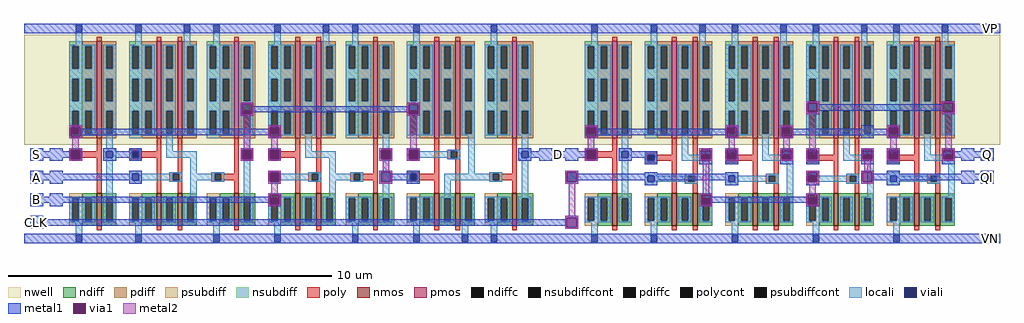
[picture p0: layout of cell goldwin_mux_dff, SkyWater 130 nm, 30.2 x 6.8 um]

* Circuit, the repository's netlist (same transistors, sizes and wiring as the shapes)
** sch_path: /foss/designs/APIC-2025/APIC-UTS/schematic/goldwin_mux_dff/goldwin_mux_dff.sch
.subckt goldwin_mux_dff CLK A B S D Q QI VP VN
*.PININFO A:I B:I S:I CLK:I VP:I VN:I Q:O QI:O D:O
x1 A B S D VP VN goldwin_mux
x2 D CLK VP VN Q QI VP VN goldwin_dff
.ends

* expanding   symbol:  /foss/designs/APIC-2025/APIC-UTS/schematic/goldwin_mux/goldwin_mux.sym # of pins=6
** sym_path: /foss/designs/APIC-2025/APIC-UTS/schematic/goldwin_mux/goldwin_mux.sym
** sch_path: /foss/designs/APIC-2025/APIC-UTS/schematic/goldwin_mux/goldwin_mux.sch
.subckt goldwin_mux A B S Y VP VN
*.PININFO A:I B:I S:I VP:I VN:I Y:O
x1 S net1 VP VN goldwin_not
x2 net1 A net3 VP VN goldwin_and
x3 S B net2 VP VN goldwin_and
x4 net3 net2 Y VP VN goldwin_or
.ends


* expanding   symbol:  /foss/designs/APIC-2025/APIC-UTS/schematic/goldwin_dff/goldwin_dff.sym # of pins=6
** sym_path: /foss/designs/APIC-2025/APIC-UTS/schematic/goldwin_dff/goldwin_dff.sym
** sch_path: /foss/designs/APIC-2025/APIC-UTS/schematic/goldwin_dff/goldwin_dff.sch
.subckt goldwin_dff D CLK VP VN Q QI VP VN
*.PININFO D:I CLK:I VP:I VN:I Q:O QI:O
x1 D net1 VP VN goldwin_not
x3 net3 QI Q VP VN goldwin_nand
x4 net1 CLK net2 VP VN goldwin_nand
x5 D CLK net3 VP VN goldwin_nand
x6 Q net2 QI VP VN goldwin_nand
.ends


* expanding   symbol:  /foss/designs/APIC-2025/APIC-UTS/schematic/goldwin_not/goldwin_not.sym # of pins=4
** sym_path: /foss/designs/APIC-2025/APIC-UTS/schematic/goldwin_not/goldwin_not.sym
** sch_path: /foss/designs/APIC-2025/APIC-UTS/schematic/goldwin_not/goldwin_not.sch
.subckt goldwin_not A Y VP VN
*.PININFO A:I VP:I VN:I Y:O
XM1 Y A VN VN sky130_fd_pr__nfet_01v8 L=0.15 W=1 nf=1 m=1
XM2 Y A VP VP sky130_fd_pr__pfet_01v8 L=0.15 W=3 nf=1 m=1
.ends


* expanding   symbol:  /foss/designs/APIC-2025/APIC-UTS/schematic/goldwin_and/goldwin_and.sym # of pins=5
** sym_path: /foss/designs/APIC-2025/APIC-UTS/schematic/goldwin_and/goldwin_and.sym
** sch_path: /foss/designs/APIC-2025/APIC-UTS/schematic/goldwin_and/goldwin_and.sch
.subckt goldwin_and A B Y VP VN
*.PININFO A:I B:I Y:O VP:I VN:I
XM1 net1 B net2 VN sky130_fd_pr__nfet_01v8 L=0.15 W=1 nf=1 m=1
XM4 net2 A VN VN sky130_fd_pr__nfet_01v8 L=0.15 W=1 nf=1 m=1
XM6 Y net1 VN VN sky130_fd_pr__nfet_01v8 L=0.15 W=1 nf=1 m=1
XM2 net1 A VP VP sky130_fd_pr__pfet_01v8 L=0.15 W=3 nf=1 m=1
XM3 net1 B VP VP sky130_fd_pr__pfet_01v8 L=0.15 W=3 nf=1 m=1
XM5 Y net1 VP VP sky130_fd_pr__pfet_01v8 L=0.15 W=3 nf=1 m=1
.ends


* expanding   symbol:  /foss/designs/APIC-2025/APIC-UTS/schematic/goldwin_or/goldwin_or.sym # of pins=5
** sym_path: /foss/designs/APIC-2025/APIC-UTS/schematic/goldwin_or/goldwin_or.sym
** sch_path: /foss/designs/APIC-2025/APIC-UTS/schematic/goldwin_or/goldwin_or.sch
.subckt goldwin_or A B Y VP VN
*.PININFO A:I B:I Y:O VP:I VN:I
XM1 net1 A VN VN sky130_fd_pr__nfet_01v8 L=0.15 W=1 nf=1 m=1
XM4 net1 B VN VN sky130_fd_pr__nfet_01v8 L=0.15 W=1 nf=1 m=1
XM6 Y net1 VN VN sky130_fd_pr__nfet_01v8 L=0.15 W=1 nf=1 m=1
XM2 net2 B VP VP sky130_fd_pr__pfet_01v8 L=0.15 W=3 nf=1 m=1
XM3 net1 A net2 VP sky130_fd_pr__pfet_01v8 L=0.15 W=3 nf=1 m=1
XM5 Y net1 VP VP sky130_fd_pr__pfet_01v8 L=0.15 W=3 nf=1 m=1
.ends


* expanding   symbol:  /foss/designs/APIC-2025/APIC-UTS/schematic/goldwin_nand/goldwin_nand.sym # of pins=5
** sym_path: /foss/designs/APIC-2025/APIC-UTS/schematic/goldwin_nand/goldwin_nand.sym
** sch_path: /foss/designs/APIC-2025/APIC-UTS/schematic/goldwin_nand/goldwin_nand.sch
.subckt goldwin_nand A B Y VP VN
*.PININFO A:I B:I VP:I VN:I Y:O
XM1 Y A VP VP sky130_fd_pr__pfet_01v8 L=0.15 W=3 nf=1 m=1
XM2 Y B VP VP sky130_fd_pr__pfet_01v8 L=0.15 W=3 nf=1 m=1
XM3 Y B net1 VN sky130_fd_pr__nfet_01v8 L=0.15 W=1 nf=1 m=1
XM4 net1 A VN VN sky130_fd_pr__nfet_01v8 L=0.15 W=1 nf=1 m=1
.ends

.end

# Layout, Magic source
magic
tech sky130A
<< nwell >>
rect -60 305 0 645
rect 2900 305 2960 645
<< metal1 >>
rect -60 650 0 680
rect 2900 650 2960 680
rect -40 285 0 295
rect 2900 285 2940 295
rect -40 265 20 285
rect 1575 265 1615 285
rect 2880 265 2940 285
rect -40 255 0 265
rect 2900 255 2940 265
rect -40 215 0 225
rect 1615 220 1655 225
rect -40 195 20 215
rect -40 185 0 195
rect 1615 190 1620 220
rect 1650 190 1655 220
rect 2900 215 2940 225
rect 2880 195 2940 215
rect 1615 185 1655 190
rect 2900 185 2940 195
rect -40 145 0 155
rect -40 125 20 145
rect -40 115 0 125
rect -40 75 0 85
rect 1615 80 1655 85
rect 1615 75 1620 80
rect -40 55 1620 75
rect -40 45 0 55
rect 1615 50 1620 55
rect 1650 50 1655 80
rect 1615 45 1655 50
rect -60 0 0 30
rect 2900 0 2960 30
<< via1 >>
rect 1620 190 1650 220
rect 1620 50 1650 80
<< metal2 >>
rect 1615 220 1655 225
rect 1615 190 1620 220
rect 1650 190 1655 220
rect 1615 185 1655 190
rect 1625 85 1645 185
rect 1615 80 1655 85
rect 1615 50 1620 80
rect 1650 50 1655 80
rect 1615 45 1655 50
use goldwin_dff  goldwin_dff_0 ../goldwin_dff
transform 1 0 1655 0 1 0
box -60 0 1245 680
use goldwin_mux  goldwin_mux_0 ../goldwin_mux
transform 1 0 60 0 1 0
box -60 0 1535 680
<< labels >>
flabel metal1 -40 45 0 85 1 FreeSans 200 0 0 -120 CLK
port 1 n
flabel metal1 -40 115 0 155 1 FreeSans 200 0 0 -120 B
port 3 n
flabel metal1 -40 185 0 225 1 FreeSans 200 0 0 -120 A
port 2 n
flabel metal1 -40 255 0 295 1 FreeSans 200 0 0 -120 S
port 4 n
flabel metal1 2900 255 2940 295 1 FreeSans 200 0 0 -120 Q
port 6 n
flabel metal1 2900 185 2940 225 1 FreeSans 200 0 0 -120 QI
port 7 n
flabel metal1 2920 0 2940 30 1 FreeSans 200 0 0 -120 VN
port 9 n
flabel metal1 2920 650 2940 680 1 FreeSans 200 0 0 -120 VP
port 8 n
flabel metal1 1585 265 1605 285 1 FreeSans 200 0 0 0 D
port 5 n
<< end >>

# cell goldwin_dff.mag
magic
tech sky130A
<< nwell >>
rect -60 305 1245 645
<< metal1 >>
rect -60 650 1245 680
rect 705 435 745 440
rect 705 405 710 435
rect 740 430 745 435
rect 1125 435 1165 440
rect 1125 430 1130 435
rect 740 410 1130 430
rect 740 405 745 410
rect 705 400 745 405
rect 1125 405 1130 410
rect 1160 405 1165 435
rect 1125 400 1165 405
rect 20 360 60 365
rect 20 330 25 360
rect 55 355 60 360
rect 455 360 495 365
rect 455 355 460 360
rect 55 335 460 355
rect 55 330 60 335
rect 20 325 60 330
rect 455 330 460 335
rect 490 330 495 360
rect 455 325 495 330
rect 625 360 665 365
rect 625 330 630 360
rect 660 355 665 360
rect 875 355 915 365
rect 955 360 995 365
rect 955 355 960 360
rect 660 335 960 355
rect 660 330 665 335
rect 625 325 665 330
rect 875 325 915 335
rect 955 330 960 335
rect 990 330 995 360
rect 955 325 995 330
rect -40 285 0 295
rect 455 290 495 295
rect -40 265 20 285
rect -40 255 0 265
rect 165 265 205 285
rect 455 260 460 290
rect 490 260 495 290
rect 455 255 495 260
rect 625 290 665 295
rect 625 260 630 290
rect 660 260 665 290
rect 625 255 665 260
rect 705 290 745 295
rect 705 260 710 290
rect 740 260 745 290
rect 705 255 745 260
rect 875 290 915 295
rect 875 260 880 290
rect 910 260 915 290
rect 875 255 915 260
rect 955 290 995 295
rect 955 260 960 290
rect 990 260 995 290
rect 955 255 995 260
rect 1125 290 1165 295
rect 1125 260 1130 290
rect 1160 285 1165 290
rect 1185 285 1225 295
rect 1160 265 1225 285
rect 1160 260 1165 265
rect 1125 255 1165 260
rect 1185 255 1225 265
rect -40 215 0 225
rect 875 220 915 225
rect -40 195 205 215
rect 245 195 455 215
rect -40 185 0 195
rect 875 190 880 220
rect 910 215 915 220
rect 955 215 995 225
rect 1185 215 1225 225
rect 910 195 1225 215
rect 910 190 915 195
rect 875 185 915 190
rect 955 185 995 195
rect 1185 185 1225 195
rect 375 150 415 155
rect 375 120 380 150
rect 410 145 415 150
rect 705 150 745 155
rect 705 145 710 150
rect 410 125 710 145
rect 410 120 415 125
rect 375 115 415 120
rect 705 120 710 125
rect 740 120 745 150
rect 705 115 745 120
rect -60 0 1245 30
<< via1 >>
rect 710 405 740 435
rect 1130 405 1160 435
rect 25 330 55 360
rect 460 330 490 360
rect 630 330 660 360
rect 960 330 990 360
rect 25 260 55 290
rect 380 260 410 290
rect 460 260 490 290
rect 630 260 660 290
rect 710 260 740 290
rect 880 260 910 290
rect 960 260 990 290
rect 1130 260 1160 290
rect 710 190 740 220
rect 880 190 910 220
rect 380 120 410 150
rect 710 120 740 150
<< metal2 >>
rect 705 435 745 440
rect 705 405 710 435
rect 740 405 745 435
rect 705 400 745 405
rect 1125 435 1165 440
rect 1125 405 1130 435
rect 1160 405 1165 435
rect 1125 400 1165 405
rect 20 360 60 365
rect 20 330 25 360
rect 55 330 60 360
rect 20 325 60 330
rect 455 360 495 365
rect 455 330 460 360
rect 490 330 495 360
rect 455 325 495 330
rect 625 360 665 365
rect 625 330 630 360
rect 660 330 665 360
rect 625 325 665 330
rect 30 295 50 325
rect 465 295 485 325
rect 635 295 655 325
rect 715 295 735 400
rect 955 360 995 365
rect 955 330 960 360
rect 990 330 995 360
rect 955 325 995 330
rect 965 295 985 325
rect 1135 295 1155 400
rect 20 290 60 295
rect 20 260 25 290
rect 55 260 60 290
rect 20 255 60 260
rect 375 290 415 295
rect 375 260 380 290
rect 410 260 415 290
rect 375 255 415 260
rect 455 290 495 295
rect 455 260 460 290
rect 490 260 495 290
rect 455 255 495 260
rect 625 290 665 295
rect 625 260 630 290
rect 660 260 665 290
rect 625 255 665 260
rect 705 290 745 295
rect 705 260 710 290
rect 740 260 745 290
rect 705 255 745 260
rect 875 290 915 295
rect 875 260 880 290
rect 910 260 915 290
rect 875 255 915 260
rect 955 290 995 295
rect 955 260 960 290
rect 990 260 995 290
rect 955 255 995 260
rect 1125 290 1165 295
rect 1125 260 1130 290
rect 1160 260 1165 290
rect 1125 255 1165 260
rect 385 155 405 255
rect 885 225 905 255
rect 705 220 745 225
rect 705 190 710 220
rect 740 190 745 220
rect 705 185 745 190
rect 875 220 915 225
rect 875 190 880 220
rect 910 190 915 220
rect 875 185 915 190
rect 715 155 735 185
rect 375 150 415 155
rect 375 120 380 150
rect 410 120 415 150
rect 375 115 415 120
rect 705 150 745 155
rect 705 120 710 150
rect 740 120 745 150
rect 705 115 745 120
use goldwin_nand  goldwin_nand_0 ../goldwin_nand
transform 1 0 1040 0 1 55
box -105 -55 145 625
use goldwin_nand  goldwin_nand_1
transform 1 0 290 0 1 55
box -105 -55 145 625
use goldwin_nand  goldwin_nand_2
transform 1 0 540 0 1 55
box -105 -55 145 625
use goldwin_nand  goldwin_nand_3
transform 1 0 790 0 1 55
box -105 -55 145 625
use goldwin_nand  goldwin_nand_4
transform 1 0 790 0 1 55
box -105 -55 145 625
use goldwin_nand  goldwin_nand_5
transform 1 0 540 0 1 55
box -105 -55 145 625
use goldwin_nand  goldwin_nand_6
transform 1 0 290 0 1 55
box -105 -55 145 625
use goldwin_not  goldwin_not_0 ../goldwin_not
transform 1 0 105 0 1 55
box -105 -55 80 625
<< labels >>
flabel metal1 -40 255 0 295 1 FreeSans 200 0 0 -120 D
port 1 n
flabel metal1 -40 185 0 225 1 FreeSans 200 0 0 -120 CLK
port 2 n
flabel metal1 1185 255 1225 295 1 FreeSans 200 0 0 -120 Q
port 3 n
flabel metal1 1185 185 1225 225 1 FreeSans 200 0 0 -120 QI
port 4 n
flabel metal1 1205 650 1225 680 1 FreeSans 200 0 0 -120 VP
port 5 n
flabel metal1 1205 0 1225 30 1 FreeSans 200 0 0 -120 VN
port 6 n
<< end >>

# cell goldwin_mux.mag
magic
tech sky130A
<< nwell >>
rect -60 305 1535 645
<< metal1 >>
rect -60 650 1535 680
rect 550 430 590 435
rect 550 400 555 430
rect 585 425 590 430
rect 1065 430 1105 435
rect 1065 425 1070 430
rect 585 405 1070 425
rect 585 400 590 405
rect 550 395 590 400
rect 1065 400 1070 405
rect 1100 400 1105 430
rect 1065 395 1105 400
rect 20 360 60 365
rect 20 330 25 360
rect 55 355 60 360
rect 635 360 675 365
rect 635 355 640 360
rect 55 335 640 355
rect 55 330 60 335
rect 20 325 60 330
rect 635 330 640 335
rect 670 330 675 360
rect 635 325 675 330
rect -40 285 0 295
rect 550 290 590 295
rect -40 265 20 285
rect -40 255 0 265
rect 165 265 205 285
rect 550 260 555 290
rect 585 260 590 290
rect 550 255 590 260
rect 635 290 675 295
rect 635 260 640 290
rect 670 260 675 290
rect 635 255 675 260
rect 980 290 1020 295
rect 980 260 985 290
rect 1015 260 1020 290
rect 980 255 1020 260
rect 1065 290 1105 295
rect 1065 260 1070 290
rect 1100 260 1105 290
rect 1475 285 1515 295
rect 1450 265 1515 285
rect 1065 255 1105 260
rect 1475 255 1515 265
rect -40 215 0 225
rect 980 220 1020 225
rect -40 195 205 215
rect -40 185 0 195
rect 980 190 985 220
rect 1015 215 1020 220
rect 1015 195 1065 215
rect 1015 190 1020 195
rect 980 185 1020 190
rect -40 145 0 155
rect 635 150 675 155
rect 635 145 640 150
rect -40 125 640 145
rect -40 115 0 125
rect 635 120 640 125
rect 670 120 675 150
rect 635 115 675 120
rect -60 0 1535 30
<< via1 >>
rect 555 400 585 430
rect 1070 400 1100 430
rect 25 330 55 360
rect 640 330 670 360
rect 25 260 55 290
rect 555 260 585 290
rect 640 260 670 290
rect 985 260 1015 290
rect 1070 260 1100 290
rect 640 190 670 220
rect 985 190 1015 220
rect 640 120 670 150
<< metal2 >>
rect 550 430 590 435
rect 550 400 555 430
rect 585 400 590 430
rect 550 395 590 400
rect 1065 430 1105 435
rect 1065 400 1070 430
rect 1100 400 1105 430
rect 1065 395 1105 400
rect 20 360 60 365
rect 20 330 25 360
rect 55 330 60 360
rect 20 325 60 330
rect 30 295 50 325
rect 560 295 580 395
rect 635 360 675 365
rect 635 330 640 360
rect 670 330 675 360
rect 635 325 675 330
rect 645 295 665 325
rect 1075 295 1095 395
rect 20 290 60 295
rect 20 260 25 290
rect 55 260 60 290
rect 20 255 60 260
rect 550 290 590 295
rect 550 260 555 290
rect 585 260 590 290
rect 550 255 590 260
rect 635 290 675 295
rect 635 260 640 290
rect 670 260 675 290
rect 635 255 675 260
rect 980 290 1020 295
rect 980 260 985 290
rect 1015 260 1020 290
rect 980 255 1020 260
rect 1065 290 1105 295
rect 1065 260 1070 290
rect 1100 260 1105 290
rect 1065 255 1105 260
rect 990 225 1010 255
rect 635 220 675 225
rect 635 190 640 220
rect 670 190 675 220
rect 635 185 675 190
rect 980 220 1020 225
rect 980 190 985 220
rect 1015 190 1020 220
rect 980 185 1020 190
rect 645 155 665 185
rect 635 150 675 155
rect 635 120 640 150
rect 670 120 675 150
rect 635 115 675 120
use goldwin_and  goldwin_and_1 ../goldwin_and
transform 1 0 290 0 1 55
box -105 -55 325 625
use goldwin_and  goldwin_and_2
transform 1 0 720 0 1 55
box -105 -55 325 625
use goldwin_not  goldwin_not_0 ../goldwin_not
transform 1 0 105 0 1 55
box -105 -55 80 625
use goldwin_or  goldwin_or_0 ../goldwin_or
transform 1 0 1150 0 1 55
box -105 -55 325 625
<< labels >>
flabel metal1 -40 185 0 225 1 FreeSans 200 0 0 -120 A
port 1 n
flabel metal1 -40 115 0 155 1 FreeSans 200 0 0 -120 B
port 2 n
flabel metal1 1475 255 1515 295 1 FreeSans 200 0 0 -120 Y
port 4 n
flabel metal1 1495 0 1515 30 1 FreeSans 200 0 0 -120 VN
port 6 n
flabel metal1 1495 650 1515 680 1 FreeSans 200 0 0 -120 VP
port 5 n
flabel metal1 -40 255 0 295 1 FreeSans 200 0 0 -120 S
port 3 n
<< end >>

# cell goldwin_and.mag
magic
tech sky130A
<< nwell >>
rect -105 250 325 590
<< nmos >>
rect 0 0 15 100
rect 65 0 80 100
rect 240 0 255 100
<< pmos >>
rect 0 270 15 570
rect 65 270 80 570
rect 240 270 255 570
<< ndiff >>
rect -45 85 0 100
rect -45 15 -35 85
rect -15 15 0 85
rect -45 0 0 15
rect 15 85 65 100
rect 15 15 30 85
rect 50 15 65 85
rect 15 0 65 15
rect 80 85 125 100
rect 80 15 95 85
rect 115 15 125 85
rect 80 0 125 15
rect 195 85 240 100
rect 195 15 205 85
rect 225 15 240 85
rect 195 0 240 15
rect 255 85 305 100
rect 255 15 270 85
rect 290 15 305 85
rect 255 0 305 15
<< pdiff >>
rect -45 555 0 570
rect -45 485 -35 555
rect -15 485 0 555
rect -45 455 0 485
rect -45 385 -35 455
rect -15 385 0 455
rect -45 355 0 385
rect -45 285 -35 355
rect -15 285 0 355
rect -45 270 0 285
rect 15 555 65 570
rect 15 485 30 555
rect 50 485 65 555
rect 15 455 65 485
rect 15 385 30 455
rect 50 385 65 455
rect 15 355 65 385
rect 15 285 30 355
rect 50 285 65 355
rect 15 270 65 285
rect 80 555 125 570
rect 80 485 95 555
rect 115 485 125 555
rect 80 455 125 485
rect 80 385 95 455
rect 115 385 125 455
rect 80 355 125 385
rect 80 285 95 355
rect 115 285 125 355
rect 80 270 125 285
rect 195 555 240 570
rect 195 485 205 555
rect 225 485 240 555
rect 195 455 240 485
rect 195 385 205 455
rect 225 385 240 455
rect 195 355 240 385
rect 195 285 205 355
rect 225 285 240 355
rect 195 270 240 285
rect 255 555 305 570
rect 255 485 270 555
rect 290 485 305 555
rect 255 455 305 485
rect 255 385 270 455
rect 290 385 305 455
rect 255 355 305 385
rect 255 285 270 355
rect 290 285 305 355
rect 255 270 305 285
<< ndiffc >>
rect -35 15 -15 85
rect 30 15 50 85
rect 95 15 115 85
rect 205 15 225 85
rect 270 15 290 85
<< pdiffc >>
rect -35 485 -15 555
rect -35 385 -15 455
rect -35 285 -15 355
rect 30 485 50 555
rect 30 385 50 455
rect 30 285 50 355
rect 95 485 115 555
rect 95 385 115 455
rect 95 285 115 355
rect 205 485 225 555
rect 205 385 225 455
rect 205 285 225 355
rect 270 485 290 555
rect 270 385 290 455
rect 270 285 290 355
<< psubdiff >>
rect -85 85 -45 100
rect -85 15 -75 85
rect -55 15 -45 85
rect -85 0 -45 15
rect 155 85 195 100
rect 155 15 165 85
rect 185 15 195 85
rect 155 0 195 15
<< nsubdiff >>
rect -85 555 -45 570
rect -85 485 -75 555
rect -55 485 -45 555
rect -85 455 -45 485
rect -85 385 -75 455
rect -55 385 -45 455
rect -85 355 -45 385
rect -85 285 -75 355
rect -55 285 -45 355
rect -85 270 -45 285
rect 155 555 195 570
rect 155 485 165 555
rect 185 485 195 555
rect 155 455 195 485
rect 155 385 165 455
rect 185 385 195 455
rect 155 355 195 385
rect 155 285 165 355
rect 185 285 195 355
rect 155 270 195 285
<< psubdiffcont >>
rect -75 15 -55 85
rect 165 15 185 85
<< nsubdiffcont >>
rect -75 485 -55 555
rect -75 385 -55 455
rect -75 285 -55 355
rect 165 485 185 555
rect 165 385 185 455
rect 165 285 185 355
<< poly >>
rect 0 570 15 585
rect 65 570 80 585
rect 240 570 255 585
rect -85 230 -45 235
rect 0 230 15 270
rect -85 210 -75 230
rect -55 210 15 230
rect -85 205 -45 210
rect 0 100 15 210
rect 65 165 80 270
rect 40 160 80 165
rect 40 140 50 160
rect 70 140 80 160
rect 40 135 80 140
rect 170 160 210 165
rect 240 160 255 270
rect 170 140 180 160
rect 200 140 255 160
rect 170 135 210 140
rect 65 100 80 135
rect 240 100 255 140
rect 0 -15 15 0
rect 65 -15 80 0
rect 240 -15 255 0
<< polycont >>
rect -75 210 -55 230
rect 50 140 70 160
rect 180 140 200 160
<< locali >>
rect -65 620 -45 625
rect -65 560 -45 600
rect 85 620 105 625
rect 85 560 105 600
rect 175 620 195 625
rect 175 560 195 600
rect -85 555 -5 560
rect -85 485 -75 555
rect -55 485 -35 555
rect -15 485 -5 555
rect -85 455 -5 485
rect -85 385 -75 455
rect -55 385 -35 455
rect -15 385 -5 455
rect -85 355 -5 385
rect -85 285 -75 355
rect -55 285 -35 355
rect -15 285 -5 355
rect -85 280 -5 285
rect 20 555 60 560
rect 20 485 30 555
rect 50 485 60 555
rect 20 455 60 485
rect 20 385 30 455
rect 50 385 60 455
rect 20 355 60 385
rect 20 285 30 355
rect 50 285 60 355
rect 20 280 60 285
rect 85 555 125 560
rect 85 485 95 555
rect 115 485 125 555
rect 85 455 125 485
rect 85 385 95 455
rect 115 385 125 455
rect 85 355 125 385
rect 85 285 95 355
rect 115 285 125 355
rect 85 280 125 285
rect 155 555 235 560
rect 155 485 165 555
rect 185 485 205 555
rect 225 485 235 555
rect 155 455 235 485
rect 155 385 165 455
rect 185 385 205 455
rect 225 385 235 455
rect 155 355 235 385
rect 155 285 165 355
rect 185 285 205 355
rect 225 285 235 355
rect 155 280 235 285
rect 260 555 300 560
rect 260 485 270 555
rect 290 485 300 555
rect 260 455 300 485
rect 260 385 270 455
rect 290 385 300 455
rect 260 355 300 385
rect 260 285 270 355
rect 290 285 300 355
rect 260 280 300 285
rect -85 230 -45 240
rect -85 210 -75 230
rect -55 210 -45 230
rect 30 230 50 280
rect 270 240 290 280
rect 260 230 300 240
rect 30 210 125 230
rect -85 200 -45 210
rect -85 160 -45 170
rect 40 160 80 165
rect -85 140 -75 160
rect -55 140 50 160
rect 70 140 80 160
rect -85 130 -45 140
rect 40 135 80 140
rect 105 160 125 210
rect 260 210 270 230
rect 290 210 300 230
rect 260 200 300 210
rect 170 160 210 165
rect 105 140 180 160
rect 200 140 210 160
rect 105 90 125 140
rect 170 135 210 140
rect 270 90 290 200
rect -85 85 -5 90
rect -85 15 -75 85
rect -55 15 -35 85
rect -15 15 -5 85
rect -85 10 -5 15
rect 20 85 60 90
rect 20 15 30 85
rect 50 15 60 85
rect 20 10 60 15
rect 85 85 125 90
rect 85 15 95 85
rect 115 15 125 85
rect 85 10 125 15
rect 155 85 235 90
rect 155 15 165 85
rect 185 15 205 85
rect 225 15 235 85
rect 155 10 235 15
rect 260 85 300 90
rect 260 15 270 85
rect 290 15 300 85
rect 260 10 300 15
rect -65 -30 -45 10
rect -65 -55 -45 -50
rect 175 -30 195 10
rect 175 -55 195 -50
<< viali >>
rect -65 600 -45 620
rect 85 600 105 620
rect 175 600 195 620
rect -75 210 -55 230
rect -75 140 -55 160
rect 270 210 290 230
rect -65 -50 -45 -30
rect 175 -50 195 -30
<< metal1 >>
rect -105 620 325 625
rect -105 600 -65 620
rect -45 600 85 620
rect 105 600 175 620
rect 195 600 325 620
rect -105 595 325 600
rect -85 230 -45 240
rect -85 210 -75 230
rect -55 210 -45 230
rect -85 200 -45 210
rect 260 230 300 240
rect 260 210 270 230
rect 290 210 300 230
rect 260 200 300 210
rect -85 160 -45 170
rect -85 140 -75 160
rect -55 140 -45 160
rect -85 130 -45 140
rect -105 -30 325 -25
rect -105 -50 -65 -30
rect -45 -50 175 -30
rect 195 -50 325 -30
rect -105 -55 325 -50
<< labels >>
flabel metal1 305 -55 325 -25 1 FreeSans 200 0 0 -120 VN
port 5 n
flabel metal1 305 595 325 625 1 FreeSans 200 0 0 -120 VP
port 4 n
flabel metal1 265 200 295 240 1 FreeSans 200 0 0 -120 Y
port 3 n
flabel metal1 -85 200 -45 240 1 FreeSans 200 0 0 -120 A
port 1 n
flabel metal1 -85 130 -45 170 1 FreeSans 200 0 0 -120 B
port 2 n
<< end >>

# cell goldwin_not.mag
magic
tech sky130A
<< nwell >>
rect -105 250 80 590
<< nmos >>
rect 0 0 15 100
<< pmos >>
rect 0 270 15 570
<< ndiff >>
rect -45 85 0 100
rect -45 15 -35 85
rect -15 15 0 85
rect -45 0 0 15
rect 15 85 60 100
rect 15 15 30 85
rect 50 15 60 85
rect 15 0 60 15
<< pdiff >>
rect -45 555 0 570
rect -45 485 -35 555
rect -15 485 0 555
rect -45 455 0 485
rect -45 385 -35 455
rect -15 385 0 455
rect -45 355 0 385
rect -45 285 -35 355
rect -15 285 0 355
rect -45 270 0 285
rect 15 555 60 570
rect 15 485 30 555
rect 50 485 60 555
rect 15 455 60 485
rect 15 385 30 455
rect 50 385 60 455
rect 15 355 60 385
rect 15 285 30 355
rect 50 285 60 355
rect 15 270 60 285
<< ndiffc >>
rect -35 15 -15 85
rect 30 15 50 85
<< pdiffc >>
rect -35 485 -15 555
rect -35 385 -15 455
rect -35 285 -15 355
rect 30 485 50 555
rect 30 385 50 455
rect 30 285 50 355
<< psubdiff >>
rect -85 85 -45 100
rect -85 15 -75 85
rect -55 15 -45 85
rect -85 0 -45 15
<< nsubdiff >>
rect -85 555 -45 570
rect -85 485 -75 555
rect -55 485 -45 555
rect -85 455 -45 485
rect -85 385 -75 455
rect -55 385 -45 455
rect -85 355 -45 385
rect -85 285 -75 355
rect -55 285 -45 355
rect -85 270 -45 285
<< psubdiffcont >>
rect -75 15 -55 85
<< nsubdiffcont >>
rect -75 485 -55 555
rect -75 385 -55 455
rect -75 285 -55 355
<< poly >>
rect 0 570 15 585
rect -85 230 -45 235
rect 0 230 15 270
rect -85 210 -75 230
rect -55 210 15 230
rect -85 205 -45 210
rect 0 100 15 210
rect 0 -15 15 0
<< polycont >>
rect -75 210 -55 230
<< locali >>
rect -65 620 -45 625
rect -65 560 -45 600
rect -85 555 -5 560
rect -85 485 -75 555
rect -55 485 -35 555
rect -15 485 -5 555
rect -85 455 -5 485
rect -85 385 -75 455
rect -55 385 -35 455
rect -15 385 -5 455
rect -85 355 -5 385
rect -85 285 -75 355
rect -55 285 -35 355
rect -15 285 -5 355
rect -85 280 -5 285
rect 20 555 60 560
rect 20 485 30 555
rect 50 485 60 555
rect 20 455 60 485
rect 20 385 30 455
rect 50 385 60 455
rect 20 355 60 385
rect 20 285 30 355
rect 50 285 60 355
rect 20 280 60 285
rect 30 240 50 280
rect -85 230 -45 240
rect -85 210 -75 230
rect -55 210 -45 230
rect -85 200 -45 210
rect 20 230 60 240
rect 20 210 30 230
rect 50 210 60 230
rect 20 200 60 210
rect 30 90 50 200
rect -85 85 -5 90
rect -85 15 -75 85
rect -55 15 -35 85
rect -15 15 -5 85
rect -85 10 -5 15
rect 20 85 60 90
rect 20 15 30 85
rect 50 15 60 85
rect 20 10 60 15
rect -65 -30 -45 10
rect -65 -55 -45 -50
<< viali >>
rect -65 600 -45 620
rect -75 210 -55 230
rect 30 210 50 230
rect -65 -50 -45 -30
<< metal1 >>
rect -105 620 80 625
rect -105 600 -65 620
rect -45 600 80 620
rect -105 595 80 600
rect -85 230 -45 240
rect -85 210 -75 230
rect -55 210 -45 230
rect -85 200 -45 210
rect 20 230 60 240
rect 20 210 30 230
rect 50 210 60 230
rect 20 200 60 210
rect -105 -30 80 -25
rect -105 -50 -65 -30
rect -45 -50 80 -30
rect -105 -55 80 -50
<< labels >>
flabel metal1 60 -55 80 -25 1 FreeSans 200 0 0 -120 VN
port 4 n
flabel metal1 60 595 80 625 1 FreeSans 200 0 0 -120 VP
port 3 n
flabel metal1 -85 200 -45 240 1 FreeSans 200 0 0 -120 A
port 1 n
flabel metal1 20 200 60 240 1 FreeSans 200 0 0 -120 Y
port 2 n
<< end >>

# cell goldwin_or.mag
magic
tech sky130A
<< nwell >>
rect -105 250 325 590
<< nmos >>
rect 0 0 15 100
rect 65 0 80 100
rect 240 0 255 100
<< pmos >>
rect 0 270 15 570
rect 65 270 80 570
rect 240 270 255 570
<< ndiff >>
rect -45 85 0 100
rect -45 15 -35 85
rect -15 15 0 85
rect -45 0 0 15
rect 15 85 65 100
rect 15 15 30 85
rect 50 15 65 85
rect 15 0 65 15
rect 80 85 125 100
rect 80 15 95 85
rect 115 15 125 85
rect 80 0 125 15
rect 195 85 240 100
rect 195 15 205 85
rect 225 15 240 85
rect 195 0 240 15
rect 255 85 305 100
rect 255 15 270 85
rect 290 15 305 85
rect 255 0 305 15
<< pdiff >>
rect -45 555 0 570
rect -45 485 -35 555
rect -15 485 0 555
rect -45 455 0 485
rect -45 385 -35 455
rect -15 385 0 455
rect -45 355 0 385
rect -45 285 -35 355
rect -15 285 0 355
rect -45 270 0 285
rect 15 555 65 570
rect 15 485 30 555
rect 50 485 65 555
rect 15 455 65 485
rect 15 385 30 455
rect 50 385 65 455
rect 15 355 65 385
rect 15 285 30 355
rect 50 285 65 355
rect 15 270 65 285
rect 80 555 125 570
rect 80 485 95 555
rect 115 485 125 555
rect 80 455 125 485
rect 80 385 95 455
rect 115 385 125 455
rect 80 355 125 385
rect 80 285 95 355
rect 115 285 125 355
rect 80 270 125 285
rect 195 555 240 570
rect 195 485 205 555
rect 225 485 240 555
rect 195 455 240 485
rect 195 385 205 455
rect 225 385 240 455
rect 195 355 240 385
rect 195 285 205 355
rect 225 285 240 355
rect 195 270 240 285
rect 255 555 305 570
rect 255 485 270 555
rect 290 485 305 555
rect 255 455 305 485
rect 255 385 270 455
rect 290 385 305 455
rect 255 355 305 385
rect 255 285 270 355
rect 290 285 305 355
rect 255 270 305 285
<< ndiffc >>
rect -35 15 -15 85
rect 30 15 50 85
rect 95 15 115 85
rect 205 15 225 85
rect 270 15 290 85
<< pdiffc >>
rect -35 485 -15 555
rect -35 385 -15 455
rect -35 285 -15 355
rect 30 485 50 555
rect 30 385 50 455
rect 30 285 50 355
rect 95 485 115 555
rect 95 385 115 455
rect 95 285 115 355
rect 205 485 225 555
rect 205 385 225 455
rect 205 285 225 355
rect 270 485 290 555
rect 270 385 290 455
rect 270 285 290 355
<< psubdiff >>
rect -85 85 -45 100
rect -85 15 -75 85
rect -55 15 -45 85
rect -85 0 -45 15
rect 155 85 195 100
rect 155 15 165 85
rect 185 15 195 85
rect 155 0 195 15
<< nsubdiff >>
rect -85 555 -45 570
rect -85 485 -75 555
rect -55 485 -45 555
rect -85 455 -45 485
rect -85 385 -75 455
rect -55 385 -45 455
rect -85 355 -45 385
rect -85 285 -75 355
rect -55 285 -45 355
rect -85 270 -45 285
rect 155 555 195 570
rect 155 485 165 555
rect 185 485 195 555
rect 155 455 195 485
rect 155 385 165 455
rect 185 385 195 455
rect 155 355 195 385
rect 155 285 165 355
rect 185 285 195 355
rect 155 270 195 285
<< psubdiffcont >>
rect -75 15 -55 85
rect 165 15 185 85
<< nsubdiffcont >>
rect -75 485 -55 555
rect -75 385 -55 455
rect -75 285 -55 355
rect 165 485 185 555
rect 165 385 185 455
rect 165 285 185 355
<< poly >>
rect 0 570 15 585
rect 65 570 80 585
rect 240 570 255 585
rect -85 160 -45 165
rect 0 160 15 270
rect 65 235 80 270
rect 40 230 80 235
rect 40 210 50 230
rect 70 210 80 230
rect 40 205 80 210
rect -85 140 -75 160
rect -55 140 15 160
rect -85 135 -45 140
rect 0 100 15 140
rect 65 100 80 205
rect 170 160 210 165
rect 240 160 255 270
rect 170 140 180 160
rect 200 140 255 160
rect 170 135 210 140
rect 240 100 255 140
rect 0 -15 15 0
rect 65 -15 80 0
rect 240 -15 255 0
<< polycont >>
rect 50 210 70 230
rect -75 140 -55 160
rect 180 140 200 160
<< locali >>
rect -65 620 -45 625
rect -65 560 -45 600
rect 175 620 195 625
rect 175 560 195 600
rect -85 555 -5 560
rect -85 485 -75 555
rect -55 485 -35 555
rect -15 485 -5 555
rect -85 455 -5 485
rect -85 385 -75 455
rect -55 385 -35 455
rect -15 385 -5 455
rect -85 355 -5 385
rect -85 285 -75 355
rect -55 285 -35 355
rect -15 285 -5 355
rect -85 280 -5 285
rect 20 555 60 560
rect 20 485 30 555
rect 50 485 60 555
rect 20 455 60 485
rect 20 385 30 455
rect 50 385 60 455
rect 20 355 60 385
rect 20 285 30 355
rect 50 285 60 355
rect 20 280 60 285
rect 85 555 125 560
rect 85 485 95 555
rect 115 485 125 555
rect 85 455 125 485
rect 85 385 95 455
rect 115 385 125 455
rect 85 355 125 385
rect 85 285 95 355
rect 115 285 125 355
rect 85 280 125 285
rect 155 555 235 560
rect 155 485 165 555
rect 185 485 205 555
rect 225 485 235 555
rect 155 455 235 485
rect 155 385 165 455
rect 185 385 205 455
rect 225 385 235 455
rect 155 355 235 385
rect 155 285 165 355
rect 185 285 205 355
rect 225 285 235 355
rect 155 280 235 285
rect 260 555 300 560
rect 260 485 270 555
rect 290 485 300 555
rect 260 455 300 485
rect 260 385 270 455
rect 290 385 300 455
rect 260 355 300 385
rect 260 285 270 355
rect 290 285 300 355
rect 260 280 300 285
rect -85 230 -45 240
rect 40 230 80 235
rect -85 210 -75 230
rect -55 210 50 230
rect 70 210 80 230
rect -85 200 -45 210
rect 40 205 80 210
rect -85 160 -45 170
rect 105 160 125 280
rect 270 240 290 280
rect 260 230 300 240
rect 260 210 270 230
rect 290 210 300 230
rect 260 200 300 210
rect 170 160 210 165
rect -85 140 -75 160
rect -55 140 -45 160
rect -85 130 -45 140
rect 30 140 180 160
rect 200 140 210 160
rect 30 90 50 140
rect 170 135 210 140
rect 270 90 290 200
rect -85 85 -5 90
rect -85 15 -75 85
rect -55 15 -35 85
rect -15 15 -5 85
rect -85 10 -5 15
rect 20 85 60 90
rect 20 15 30 85
rect 50 15 60 85
rect 20 10 60 15
rect 85 85 125 90
rect 85 15 95 85
rect 115 15 125 85
rect 85 10 125 15
rect 155 85 235 90
rect 155 15 165 85
rect 185 15 205 85
rect 225 15 235 85
rect 155 10 235 15
rect 260 85 300 90
rect 260 15 270 85
rect 290 15 300 85
rect 260 10 300 15
rect -65 -30 -45 10
rect -65 -55 -45 -50
rect 85 -30 105 10
rect 85 -55 105 -50
rect 175 -30 195 10
rect 175 -55 195 -50
<< viali >>
rect -65 600 -45 620
rect 175 600 195 620
rect -75 210 -55 230
rect 270 210 290 230
rect -75 140 -55 160
rect -65 -50 -45 -30
rect 85 -50 105 -30
rect 175 -50 195 -30
<< metal1 >>
rect -105 620 325 625
rect -105 600 -65 620
rect -45 600 175 620
rect 195 600 325 620
rect -105 595 325 600
rect -85 230 -45 240
rect -85 210 -75 230
rect -55 210 -45 230
rect -85 200 -45 210
rect 260 230 300 240
rect 260 210 270 230
rect 290 210 300 230
rect 260 200 300 210
rect -85 160 -45 170
rect -85 140 -75 160
rect -55 140 -45 160
rect -85 130 -45 140
rect -105 -30 325 -25
rect -105 -50 -65 -30
rect -45 -50 85 -30
rect 105 -50 175 -30
rect 195 -50 325 -30
rect -105 -55 325 -50
<< labels >>
flabel metal1 305 -55 325 -25 1 FreeSans 200 0 0 -120 VN
port 5 n
flabel metal1 305 595 325 625 1 FreeSans 200 0 0 -120 VP
port 4 n
flabel metal1 -85 200 -45 240 5 FreeSans 200 0 0 120 A
port 1 n
flabel metal1 -85 130 -45 170 5 FreeSans 200 0 0 120 B
port 2 n
flabel metal1 265 200 295 240 5 FreeSans 200 0 0 120 Y
port 3 n
<< end >>

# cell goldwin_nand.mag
magic
tech sky130A
<< nwell >>
rect -105 250 145 590
<< nmos >>
rect 0 0 15 100
rect 65 0 80 100
<< pmos >>
rect 0 270 15 570
rect 65 270 80 570
<< ndiff >>
rect -45 85 0 100
rect -45 15 -35 85
rect -15 15 0 85
rect -45 0 0 15
rect 15 85 65 100
rect 15 15 30 85
rect 50 15 65 85
rect 15 0 65 15
rect 80 85 125 100
rect 80 15 95 85
rect 115 15 125 85
rect 80 0 125 15
<< pdiff >>
rect -45 555 0 570
rect -45 485 -35 555
rect -15 485 0 555
rect -45 455 0 485
rect -45 385 -35 455
rect -15 385 0 455
rect -45 355 0 385
rect -45 285 -35 355
rect -15 285 0 355
rect -45 270 0 285
rect 15 555 65 570
rect 15 485 30 555
rect 50 485 65 555
rect 15 455 65 485
rect 15 385 30 455
rect 50 385 65 455
rect 15 355 65 385
rect 15 285 30 355
rect 50 285 65 355
rect 15 270 65 285
rect 80 555 125 570
rect 80 485 95 555
rect 115 485 125 555
rect 80 455 125 485
rect 80 385 95 455
rect 115 385 125 455
rect 80 355 125 385
rect 80 285 95 355
rect 115 285 125 355
rect 80 270 125 285
<< ndiffc >>
rect -35 15 -15 85
rect 30 15 50 85
rect 95 15 115 85
<< pdiffc >>
rect -35 485 -15 555
rect -35 385 -15 455
rect -35 285 -15 355
rect 30 485 50 555
rect 30 385 50 455
rect 30 285 50 355
rect 95 485 115 555
rect 95 385 115 455
rect 95 285 115 355
<< psubdiff >>
rect -85 85 -45 100
rect -85 15 -75 85
rect -55 15 -45 85
rect -85 0 -45 15
<< nsubdiff >>
rect -85 555 -45 570
rect -85 485 -75 555
rect -55 485 -45 555
rect -85 455 -45 485
rect -85 385 -75 455
rect -55 385 -45 455
rect -85 355 -45 385
rect -85 285 -75 355
rect -55 285 -45 355
rect -85 270 -45 285
<< psubdiffcont >>
rect -75 15 -55 85
<< nsubdiffcont >>
rect -75 485 -55 555
rect -75 385 -55 455
rect -75 285 -55 355
<< poly >>
rect 0 570 15 585
rect 65 570 80 585
rect -85 220 -45 225
rect 0 220 15 270
rect -85 200 -75 220
rect -55 200 15 220
rect -85 195 -45 200
rect 0 100 15 200
rect 65 160 80 270
rect 40 155 80 160
rect 40 135 50 155
rect 70 135 80 155
rect 40 130 80 135
rect 65 100 80 130
rect 0 -15 15 0
rect 65 -15 80 0
<< polycont >>
rect -75 200 -55 220
rect 50 135 70 155
<< locali >>
rect -65 620 -45 625
rect -65 560 -45 600
rect 85 620 105 625
rect 85 560 105 600
rect -85 555 -5 560
rect -85 485 -75 555
rect -55 485 -35 555
rect -15 485 -5 555
rect -85 455 -5 485
rect -85 385 -75 455
rect -55 385 -35 455
rect -15 385 -5 455
rect -85 355 -5 385
rect -85 285 -75 355
rect -55 285 -35 355
rect -15 285 -5 355
rect -85 280 -5 285
rect 20 555 60 560
rect 20 485 30 555
rect 50 485 60 555
rect 20 455 60 485
rect 20 385 30 455
rect 50 385 60 455
rect 20 355 60 385
rect 20 285 30 355
rect 50 285 60 355
rect 20 280 60 285
rect 85 555 125 560
rect 85 485 95 555
rect 115 485 125 555
rect 85 455 125 485
rect 85 385 95 455
rect 115 385 125 455
rect 85 355 125 385
rect 85 285 95 355
rect 115 285 125 355
rect 85 280 125 285
rect -85 220 -45 230
rect -85 200 -75 220
rect -55 200 -45 220
rect 30 220 50 280
rect 85 220 125 230
rect 30 200 95 220
rect 115 200 125 220
rect -85 190 -45 200
rect 85 190 125 200
rect -85 155 -45 165
rect 40 155 80 160
rect -85 135 -75 155
rect -55 135 50 155
rect 70 135 80 155
rect -85 125 -45 135
rect 40 130 80 135
rect 105 90 125 190
rect -85 85 -5 90
rect -85 15 -75 85
rect -55 15 -35 85
rect -15 15 -5 85
rect -85 10 -5 15
rect 20 85 60 90
rect 20 15 30 85
rect 50 15 60 85
rect 20 10 60 15
rect 85 85 125 90
rect 85 15 95 85
rect 115 15 125 85
rect 85 10 125 15
rect -65 -30 -45 10
rect -65 -55 -45 -50
<< viali >>
rect -65 600 -45 620
rect 85 600 105 620
rect -75 200 -55 220
rect 95 200 115 220
rect -75 135 -55 155
rect -65 -50 -45 -30
<< metal1 >>
rect -105 620 145 625
rect -105 600 -65 620
rect -45 600 85 620
rect 105 600 145 620
rect -105 595 145 600
rect -85 220 -45 230
rect -85 200 -75 220
rect -55 200 -45 220
rect -85 190 -45 200
rect 85 220 125 230
rect 85 200 95 220
rect 115 200 125 220
rect 85 190 125 200
rect -85 155 -45 165
rect -85 135 -75 155
rect -55 135 -45 155
rect -85 125 -45 135
rect -105 -30 145 -25
rect -105 -50 -65 -30
rect -45 -50 145 -30
rect -105 -55 145 -50
<< labels >>
flabel metal1 -85 190 -45 230 1 FreeSans 200 0 0 -120 A
port 1 n
flabel metal1 -85 125 -45 165 1 FreeSans 200 0 0 -120 B
port 2 n
flabel metal1 85 190 125 230 1 FreeSans 200 0 0 -120 Y
port 3 n
flabel metal1 125 595 145 625 1 FreeSans 200 0 0 -120 VP
port 4 n
flabel metal1 125 -55 145 -25 1 FreeSans 200 0 0 -120 VN
port 5 n
<< end >>
